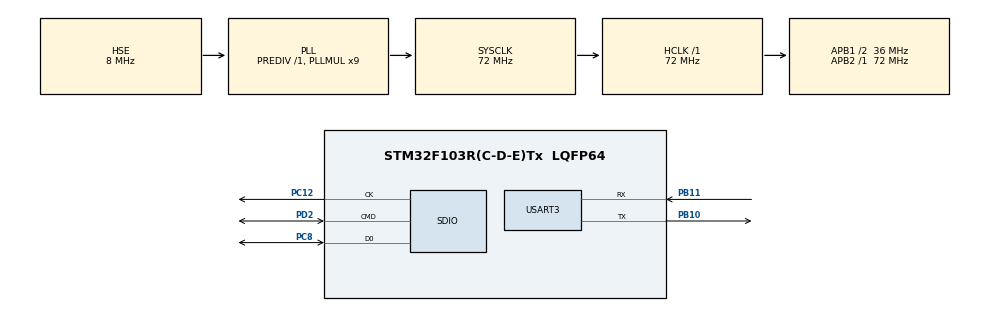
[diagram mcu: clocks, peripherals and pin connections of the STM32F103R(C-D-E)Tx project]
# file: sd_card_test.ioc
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Mcu.Family=STM32F1
Mcu.Name=STM32F103R(C-D-E)Tx
Mcu.Package=LQFP64
NVIC.PriorityGroup=NVIC_PRIORITYGROUP_4
PA13.Mode=Serial_Wire
PA13.Signal=SYS_JTMS-SWDIO
PA14.Mode=Serial_Wire
PA14.Signal=SYS_JTCK-SWCLK
PB10.Mode=Asynchronous
PB10.Signal=USART3_TX
PB11.Mode=Asynchronous
PB11.Signal=USART3_RX
PC12.Mode=SD_1_bit
PC12.Signal=SDIO_CK
PC8.Mode=SD_1_bit
PC8.Signal=SDIO_D0
PD0-OSC_IN.Mode=HSE-External-Oscillator
PD0-OSC_IN.Signal=RCC_OSC_IN
PD1-OSC_OUT.Mode=HSE-External-Oscillator
PD1-OSC_OUT.Signal=RCC_OSC_OUT
PD2.Mode=SD_1_bit
PD2.Signal=SDIO_CMD
ProjectManager.HeapSize=0x200
ProjectManager.StackSize=0x400
ProjectManager.TargetToolchain=STM32CubeIDE
RCC.AHBFreq_Value=72000000
RCC.APB1CLKDivider=RCC_HCLK_DIV2
RCC.APB1Freq_Value=36000000
RCC.APB1TimFreq_Value=72000000
RCC.APB2Freq_Value=72000000
RCC.APB2TimFreq_Value=72000000
RCC.HCLKFreq_Value=72000000
RCC.PLLMUL=RCC_PLL_MUL9
RCC.PLLSourceVirtual=RCC_PLLSOURCE_HSE
RCC.SYSCLKFreq_VALUE=72000000
RCC.SYSCLKSource=RCC_SYSCLKSOURCE_PLLCLK
RCC.USBFreq_Value=48000000
RCC.USBPrescaler=RCC_USBCLKSOURCE_PLL_DIV1_5
USART3.VirtualMode=VM_ASYNC
VP_FATFS_VS_Generic.Mode=User_defined
VP_FATFS_VS_SDIO.Mode=SDIO
board=custom

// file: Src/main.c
/* USER CODE BEGIN Header */
/**
  ******************************************************************************
  * @file           : main.c
  * @brief          : Main program body
  ******************************************************************************
  * @attention
  *
  * <h2><center>&copy; Copyright (c) 2019 STMicroelectronics.
  * All rights reserved.</center></h2>
  *
  * This software component is licensed by ST under BSD 3-Clause license,
  * the "License"; You may not use this file except in compliance with the
  * License. You may obtain a copy of the License at:
  *                        opensource.org/licenses/BSD-3-Clause
  *
  ******************************************************************************
  */
/* USER CODE END Header */

#include "main.h"
#include "fatfs.h"

SD_HandleTypeDef hsd;

UART_HandleTypeDef huart3;

/* USER CODE BEGIN PV */
#define HALF_DATASIZE	512
#define FULL_DATASIZE 1024
	FATFS myFATFS;
	FIL myFILE;
volatile FRESULT fresult;
/* USER CODE END PV */

void SystemClock_Config(void);
static void MX_GPIO_Init(void);
static void MX_SDIO_SD_Init(void);
static void MX_USART3_UART_Init(void);
/* USER CODE BEGIN PFP */
#ifdef __GNUC__
  /* With GCC/RAISONANCE, small printf (option LD Linker->Libraries->Small printf
     set to 'Yes') calls __io_putchar() */
  #define PUTCHAR_PROTOTYPE int __io_putchar(int ch)
#else
  #define PUTCHAR_PROTOTYPE int fputc(int ch, FILE *f)
  #define GETCHAR_PROTOTYPE int fgetc(FILE *f)
#endif /* __GNUC__ */
	PUTCHAR_PROTOTYPE
{
  /* Place your implementation of fputc here */
  /* e.g. write a character to the USART */
	HAL_UART_Transmit(&huart3 ,(uint8_t*)&ch,1,100);

  /* Loop until the end of transmission */

  return ch;
}
/* USER CODE END PFP */

int main(void)
{

  /* MCU Configuration--------------------------------------------------------*/

  /* Reset of all peripherals, Initializes the Flash interface and the Systick. */
  HAL_Init();

  /* Configure the system clock */
  SystemClock_Config();

  /* Initialize all configured peripherals */
  MX_GPIO_Init();
  MX_SDIO_SD_Init();
  MX_FATFS_Init();
  MX_USART3_UART_Init();
  /* USER CODE BEGIN 2 */
 fresult = f_mount( &myFATFS,"", 1);
if( fresult == FR_OK)
{
     HAL_UART_Transmit(&huart3 ,"OK\r\n",4,100);
}
else
{
	 HAL_UART_Transmit(&huart3 ,"NO\r\n",4,100);
}

  /* USER CODE END 2 */

  /* Infinite loop */
  while (1)
  {

    /* USER CODE BEGIN 3 */
//	  HAL_UART_Transmit(&huart3 ,(uint8_t*)&"a",1,100);
	  HAL_Delay(1000);

  }
  /* USER CODE END 3 */
}

void SystemClock_Config(void)
{
  RCC_OscInitTypeDef RCC_OscInitStruct = {0};
  RCC_ClkInitTypeDef RCC_ClkInitStruct = {0};

  /** Initializes the CPU, AHB and APB busses clocks
  */
  RCC_OscInitStruct.OscillatorType = RCC_OSCILLATORTYPE_HSE;
  RCC_OscInitStruct.HSEState = RCC_HSE_ON;
  RCC_OscInitStruct.HSEPredivValue = RCC_HSE_PREDIV_DIV1;
  RCC_OscInitStruct.HSIState = RCC_HSI_ON;
  RCC_OscInitStruct.PLL.PLLState = RCC_PLL_ON;
  RCC_OscInitStruct.PLL.PLLSource = RCC_PLLSOURCE_HSE;
  RCC_OscInitStruct.PLL.PLLMUL = RCC_PLL_MUL9;
  if (HAL_RCC_OscConfig(&RCC_OscInitStruct) != HAL_OK)
  {
    Error_Handler();
  }
  /** Initializes the CPU, AHB and APB busses clocks
  */
  RCC_ClkInitStruct.ClockType = RCC_CLOCKTYPE_HCLK|RCC_CLOCKTYPE_SYSCLK
                              |RCC_CLOCKTYPE_PCLK1|RCC_CLOCKTYPE_PCLK2;
  RCC_ClkInitStruct.SYSCLKSource = RCC_SYSCLKSOURCE_PLLCLK;
  RCC_ClkInitStruct.AHBCLKDivider = RCC_SYSCLK_DIV1;
  RCC_ClkInitStruct.APB1CLKDivider = RCC_HCLK_DIV2;
  RCC_ClkInitStruct.APB2CLKDivider = RCC_HCLK_DIV1;

  if (HAL_RCC_ClockConfig(&RCC_ClkInitStruct, FLASH_LATENCY_2) != HAL_OK)
  {
    Error_Handler();
  }
}

static void MX_SDIO_SD_Init(void)
{

  hsd.Instance = SDIO;
  hsd.Init.ClockEdge = SDIO_CLOCK_EDGE_RISING;
  hsd.Init.ClockBypass = SDIO_CLOCK_BYPASS_DISABLE;
  hsd.Init.ClockPowerSave = SDIO_CLOCK_POWER_SAVE_DISABLE;
  hsd.Init.BusWide = SDIO_BUS_WIDE_1B;
  hsd.Init.HardwareFlowControl = SDIO_HARDWARE_FLOW_CONTROL_DISABLE;
  hsd.Init.ClockDiv = 0;

}

static void MX_USART3_UART_Init(void)
{

  huart3.Instance = USART3;
  huart3.Init.BaudRate = 115200;
  huart3.Init.WordLength = UART_WORDLENGTH_8B;
  huart3.Init.StopBits = UART_STOPBITS_1;
  huart3.Init.Parity = UART_PARITY_NONE;
  huart3.Init.Mode = UART_MODE_TX_RX;
  huart3.Init.HwFlowCtl = UART_HWCONTROL_NONE;
  huart3.Init.OverSampling = UART_OVERSAMPLING_16;
  if (HAL_UART_Init(&huart3) != HAL_OK)
  {
    Error_Handler();
  }

}

static void MX_GPIO_Init(void)
{

  /* GPIO Ports Clock Enable */
  __HAL_RCC_GPIOD_CLK_ENABLE();
  __HAL_RCC_GPIOB_CLK_ENABLE();
  __HAL_RCC_GPIOC_CLK_ENABLE();
  __HAL_RCC_GPIOA_CLK_ENABLE();

}

void Error_Handler(void)
{
}

/************************ (C) COPYRIGHT STMicroelectronics *****END OF FILE****/
